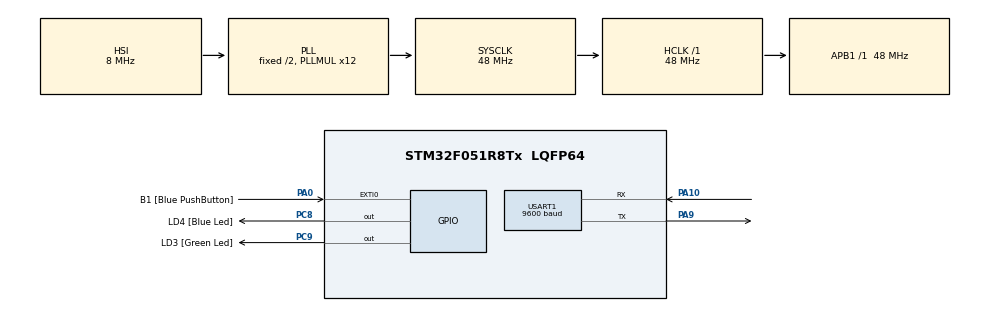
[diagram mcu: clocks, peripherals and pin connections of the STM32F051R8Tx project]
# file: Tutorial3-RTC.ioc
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Mcu.Family=STM32F0
Mcu.Name=STM32F051R8Tx
Mcu.Package=LQFP64
PA0.GPIO_Label=B1 [Blue PushButton]
PA0.GPIO_ModeDefaultEXTI=GPIO_MODE_EVT_RISING
PA0.Signal=GPXTI0
PA10.Mode=Asynchronous
PA10.Signal=USART1_RX
PA13.GPIO_Label=SWDIO
PA13.Mode=Serial_Wire
PA13.Signal=SYS_SWDIO
PA14.GPIO_Label=SWCLK
PA14.Mode=Serial_Wire
PA14.Signal=SYS_SWCLK
PA9.Mode=Asynchronous
PA9.Signal=USART1_TX
PC8.GPIO_Label=LD4 [Blue Led]
PC8.Signal=GPIO_Output
PC9.GPIO_Label=LD3 [Green Led]
PC9.Signal=GPIO_Output
ProjectManager.HeapSize=0x200
ProjectManager.StackSize=0x400
ProjectManager.TargetToolchain=STM32CubeIDE
RCC.AHBFreq_Value=48000000
RCC.APB1Freq_Value=48000000
RCC.APB1TimFreq_Value=48000000
RCC.HCLKFreq_Value=48000000
RCC.PLLMUL=RCC_PLL_MUL12
RCC.SYSCLKFreq_VALUE=48000000
RCC.SYSCLKSource=RCC_SYSCLKSOURCE_PLLCLK
RTC.Date=2
RTC.Format=RTC_FORMAT_BIN
RTC.Year=3
USART1.BaudRate=9600
USART1.VirtualMode-Asynchronous=VM_ASYNC
VP_RTC_VS_RTC_Activate.Mode=RTC_Enabled
VP_RTC_VS_RTC_Calendar.Mode=RTC_Calendar
board=STM32F0DISCOVERY

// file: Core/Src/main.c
/* USER CODE BEGIN Header */
/**
  ******************************************************************************
  * @file           : main.c
  * @brief          : Main program body
  ******************************************************************************
  * @attention
  *
  * Copyright (c) 2023 STMicroelectronics.
  * All rights reserved.
  *
  * This software is licensed under terms that can be found in the LICENSE file
  * in the root directory of this software component.
  * If no LICENSE file comes with this software, it is provided AS-IS.
  *
  ******************************************************************************
  */
/* USER CODE END Header */
#include "main.h"

/* USER CODE BEGIN Includes */
#include "string.h"
#include <stdlib.h>
#include "stdio.h"
#include "retarget.h"

/* USER CODE END Includes */

RTC_HandleTypeDef hrtc;

UART_HandleTypeDef huart1;

void SystemClock_Config(void);
static void MX_GPIO_Init(void);
static void MX_RTC_Init(void);
static void MX_USART1_UART_Init(void);
/* USER CODE BEGIN PFP */
static void updateTime();
/* USER CODE END PFP */

/* USER CODE BEGIN 0 */

//Ask the user for the time and date
static void updateTime()
{
  RTC_TimeTypeDef sTime = {0};
  RTC_DateTypeDef sDate = {0};

  char receiveBuffer[60];

  //General Format is
  	  //Print the prompt for the user
  	  //Scan the user's input into the buffer
  	  //Print back what the user input
  	  //Set the relevant struct data to what the user input

  printf("Enter in the year(20XX): ");
  scanf("%s", receiveBuffer);
  printf("%d\r\n", atoi(receiveBuffer));
  sDate.Year = atoi(receiveBuffer);

  printf("Enter in the month: ");
  scanf("%s", receiveBuffer);
  printf("%d\r\n", atoi(receiveBuffer));
  sDate.Month = atoi(receiveBuffer);

  printf("Enter in the day: ");
  scanf("%s", receiveBuffer);
  printf("%d\r\n", atoi(receiveBuffer));
  sDate.Date = atoi(receiveBuffer);

  printf("Enter in the hour: ");
  scanf("%s", receiveBuffer);
  printf("%d\r\n", atoi(receiveBuffer));
  sTime.Hours = atoi(receiveBuffer);

  printf("Enter in the minute: ");
  scanf("%s", receiveBuffer);
  printf("%d\r\n", atoi(receiveBuffer));
  sTime.Minutes = atoi(receiveBuffer);

  printf("Enter in the second: ");
  scanf("%s", receiveBuffer);
  printf("%d\r\n", atoi(receiveBuffer));
  sTime.Seconds = atoi(receiveBuffer);

  //printf("User Entered [%d]\r\n", atoi(receiveBuffer));

  sTime.DayLightSaving = RTC_DAYLIGHTSAVING_NONE; //Assumptions
  sTime.StoreOperation = RTC_STOREOPERATION_RESET;

  if (HAL_RTC_SetTime(&hrtc, &sTime, RTC_FORMAT_BIN) != HAL_OK) //Verify the time was set
  {
	Error_Handler();
  }

  if (HAL_RTC_SetDate(&hrtc, &sDate, RTC_FORMAT_BIN) != HAL_OK) //Verify the date was set
  {
	Error_Handler();
  }
}

/* USER CODE END 0 */

int main(void)
{

  /* MCU Configuration--------------------------------------------------------*/

  /* Reset of all peripherals, Initializes the Flash interface and the Systick. */
  HAL_Init();

  /* Configure the system clock */
  SystemClock_Config();

  /* Initialize all configured peripherals */
  MX_GPIO_Init();
  MX_RTC_Init();
  MX_USART1_UART_Init();
  /* USER CODE BEGIN 2 */
  RetargetInit(&huart1);

  updateTime();

  /* USER CODE END 2 */

  /* Infinite loop */
  while (1)
  {

    /* USER CODE BEGIN 3 */
	  RTC_DateTypeDef dateData;
	  RTC_TimeTypeDef timeData;

	  if(HAL_RTC_GetTime(&hrtc, &timeData, RTC_FORMAT_BIN) != HAL_OK)
	  {
		  printf("Error: Failure getting time RTC");
		  break;
	  }

	  if(HAL_RTC_GetDate(&hrtc, &dateData, RTC_FORMAT_BIN) != HAL_OK)
	  {
		  printf("Error: Failure getting date from RTC");
		  break;
	  }
	  //printf("D=%d, M=%d, Day=%d, Y=%d, hour1=%d\r\n", dateData.Date, dateData.Month, dateData.WeekDay, dateData.Year, timeData.Hours);
	  printf("20%02d-%02d-%02d %02d:%02d:%02d:%03d\r\n", dateData.Year, dateData.Month, dateData.Date, timeData.Hours, timeData.Minutes, timeData.Seconds, timeData.SubSeconds);
	  HAL_Delay(500);

  }
  /* USER CODE END 3 */
}

void SystemClock_Config(void)
{
  RCC_OscInitTypeDef RCC_OscInitStruct = {0};
  RCC_ClkInitTypeDef RCC_ClkInitStruct = {0};
  RCC_PeriphCLKInitTypeDef PeriphClkInit = {0};

  /** Initializes the RCC Oscillators according to the specified parameters
  * in the RCC_OscInitTypeDef structure.
  */
  RCC_OscInitStruct.OscillatorType = RCC_OSCILLATORTYPE_HSI|RCC_OSCILLATORTYPE_LSI;
  RCC_OscInitStruct.HSIState = RCC_HSI_ON;
  RCC_OscInitStruct.HSICalibrationValue = RCC_HSICALIBRATION_DEFAULT;
  RCC_OscInitStruct.LSIState = RCC_LSI_ON;
  RCC_OscInitStruct.PLL.PLLState = RCC_PLL_ON;
  RCC_OscInitStruct.PLL.PLLSource = RCC_PLLSOURCE_HSI;
  RCC_OscInitStruct.PLL.PLLMUL = RCC_PLL_MUL12;
  RCC_OscInitStruct.PLL.PREDIV = RCC_PREDIV_DIV1;
  if (HAL_RCC_OscConfig(&RCC_OscInitStruct) != HAL_OK)
  {
    Error_Handler();
  }

  /** Initializes the CPU, AHB and APB buses clocks
  */
  RCC_ClkInitStruct.ClockType = RCC_CLOCKTYPE_HCLK|RCC_CLOCKTYPE_SYSCLK
                              |RCC_CLOCKTYPE_PCLK1;
  RCC_ClkInitStruct.SYSCLKSource = RCC_SYSCLKSOURCE_PLLCLK;
  RCC_ClkInitStruct.AHBCLKDivider = RCC_SYSCLK_DIV1;
  RCC_ClkInitStruct.APB1CLKDivider = RCC_HCLK_DIV1;

  if (HAL_RCC_ClockConfig(&RCC_ClkInitStruct, FLASH_LATENCY_1) != HAL_OK)
  {
    Error_Handler();
  }
  PeriphClkInit.PeriphClockSelection = RCC_PERIPHCLK_USART1|RCC_PERIPHCLK_RTC;
  PeriphClkInit.Usart1ClockSelection = RCC_USART1CLKSOURCE_PCLK1;
  PeriphClkInit.RTCClockSelection = RCC_RTCCLKSOURCE_LSI;
  if (HAL_RCCEx_PeriphCLKConfig(&PeriphClkInit) != HAL_OK)
  {
    Error_Handler();
  }
}

static void MX_RTC_Init(void)
{

  RTC_TimeTypeDef sTime = {0};
  RTC_DateTypeDef sDate = {0};

  /** Initialize RTC Only
  */
  hrtc.Instance = RTC;
  hrtc.Init.HourFormat = RTC_HOURFORMAT_24;
  hrtc.Init.AsynchPrediv = 127;
  hrtc.Init.SynchPrediv = 255;
  hrtc.Init.OutPut = RTC_OUTPUT_DISABLE;
  hrtc.Init.OutPutPolarity = RTC_OUTPUT_POLARITY_HIGH;
  hrtc.Init.OutPutType = RTC_OUTPUT_TYPE_OPENDRAIN;
  if (HAL_RTC_Init(&hrtc) != HAL_OK)
  {
    Error_Handler();
  }

  /** Initialize RTC and set the Time and Date
  */
  sTime.Hours = 0;
  sTime.Minutes = 0;
  sTime.Seconds = 0;
  sTime.DayLightSaving = RTC_DAYLIGHTSAVING_NONE;
  sTime.StoreOperation = RTC_STOREOPERATION_RESET;
  if (HAL_RTC_SetTime(&hrtc, &sTime, RTC_FORMAT_BIN) != HAL_OK)
  {
    Error_Handler();
  }
  sDate.WeekDay = RTC_WEEKDAY_MONDAY;
  sDate.Month = RTC_MONTH_JANUARY;
  sDate.Date = 2;
  sDate.Year = 3;

  if (HAL_RTC_SetDate(&hrtc, &sDate, RTC_FORMAT_BIN) != HAL_OK)
  {
    Error_Handler();
  }

}

static void MX_USART1_UART_Init(void)
{

  huart1.Instance = USART1;
  huart1.Init.BaudRate = 9600;
  huart1.Init.WordLength = UART_WORDLENGTH_8B;
  huart1.Init.StopBits = UART_STOPBITS_1;
  huart1.Init.Parity = UART_PARITY_NONE;
  huart1.Init.Mode = UART_MODE_TX_RX;
  huart1.Init.HwFlowCtl = UART_HWCONTROL_NONE;
  huart1.Init.OverSampling = UART_OVERSAMPLING_16;
  huart1.Init.OneBitSampling = UART_ONE_BIT_SAMPLE_DISABLE;
  huart1.AdvancedInit.AdvFeatureInit = UART_ADVFEATURE_NO_INIT;
  if (HAL_UART_Init(&huart1) != HAL_OK)
  {
    Error_Handler();
  }

}

static void MX_GPIO_Init(void)
{
  GPIO_InitTypeDef GPIO_InitStruct = {0};

  /* GPIO Ports Clock Enable */
  __HAL_RCC_GPIOA_CLK_ENABLE();
  __HAL_RCC_GPIOC_CLK_ENABLE();

  /*Configure GPIO pin Output Level */
  HAL_GPIO_WritePin(GPIOC, LD4_Pin|LD3_Pin, GPIO_PIN_RESET);

  /*Configure GPIO pin : B1_Pin */
  GPIO_InitStruct.Pin = B1_Pin;
  GPIO_InitStruct.Mode = GPIO_MODE_EVT_RISING;
  GPIO_InitStruct.Pull = GPIO_NOPULL;
  HAL_GPIO_Init(B1_GPIO_Port, &GPIO_InitStruct);

  /*Configure GPIO pins : LD4_Pin LD3_Pin */
  GPIO_InitStruct.Pin = LD4_Pin|LD3_Pin;
  GPIO_InitStruct.Mode = GPIO_MODE_OUTPUT_PP;
  GPIO_InitStruct.Pull = GPIO_NOPULL;
  GPIO_InitStruct.Speed = GPIO_SPEED_FREQ_LOW;
  HAL_GPIO_Init(GPIOC, &GPIO_InitStruct);

}

void Error_Handler(void)
{
  __disable_irq();
  while (1)
  {
  }
}
